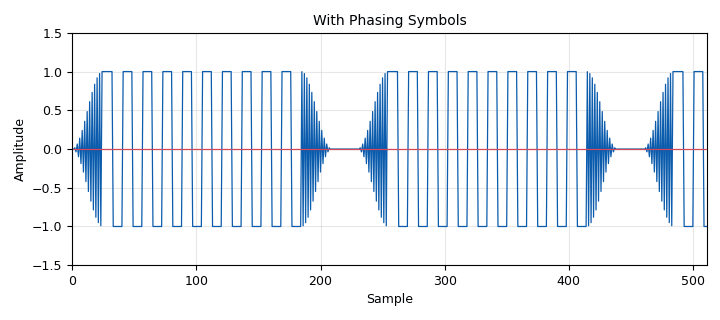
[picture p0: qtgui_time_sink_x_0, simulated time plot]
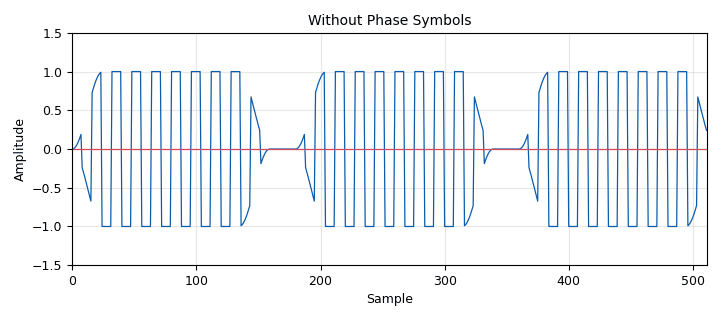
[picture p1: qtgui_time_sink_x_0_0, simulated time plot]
options:
  parameters:
    category: Custom
    description: Adapted from GNU Radio's own example (gr-digital/examples/packet/burst_tagger.grc).
    generate_options: qt_gui
    id: top_block
    output_language: python
    title: Burst Tagger Demo
  states: {}

blocks:
- name: samp_rate
  id: variable
  parameters:
    value: '32000'
  states: {}
- name: blocks_stream_to_tagged_stream_0
  id: blocks_stream_to_tagged_stream
  parameters:
    len_tag_key: '"packet_len"'
    packet_len: 16*10
    type: complex
  states: {}
- name: blocks_throttle2_0
  id: blocks_throttle2
  parameters:
    samples_per_second: samp_rate
    type: complex
  states: {}
- name: blocks_vector_source_x_0
  id: blocks_vector_source_x
  parameters:
    repeat: 'True'
    type: complex
    vector: '[1,1,1,1,1,1,1,1,-1,-1,-1,-1,-1,-1,-1,-1]'
  states: {}
- name: digital_burst_shaper_xx_0
  id: digital_burst_shaper_xx
  parameters:
    insert_phasing: 'True'
    length_tag_name: packet_len
    post_padding: '20'
    pre_padding: '0'
    type: complex
    window: firdes.window(window.WIN_HANN, 50, 0)
  states: {}
- name: digital_burst_shaper_xx_0_0
  id: digital_burst_shaper_xx
  parameters:
    insert_phasing: 'False'
    length_tag_name: packet_len
    post_padding: '20'
    pre_padding: '0'
    type: complex
    window: firdes.window(window.WIN_HANN, 50, 0)
  states: {}
- name: qtgui_time_sink_x_0
  id: qtgui_time_sink_x
  parameters:
    gui_hint: 0,0,1,1
    label1: ''
    label2: ''
    legend: 'False'
    name: With Phasing Symbols
    size: '512'
    tr_mode: qtgui.TRIG_MODE_TAG
    tr_tag: packet_len
    type: complex
    ymax: '1.5'
    ymin: '-1.5'
    samp_rate: '1'
  states: {}
- name: qtgui_time_sink_x_0_0
  id: qtgui_time_sink_x
  parameters:
    gui_hint: 1,0,1,1
    label1: ''
    label2: ''
    legend: 'False'
    name: Without Phase Symbols
    size: '512'
    tr_mode: qtgui.TRIG_MODE_TAG
    tr_tag: packet_len
    type: complex
    ymax: '1.5'
    ymin: '-1.5'
    samp_rate: '1'
  states: {}

connections:
- [blocks_stream_to_tagged_stream_0, '0', digital_burst_shaper_xx_0, '0']
- [blocks_stream_to_tagged_stream_0, '0', digital_burst_shaper_xx_0_0, '0']
- [blocks_throttle2_0, '0', blocks_stream_to_tagged_stream_0, '0']
- [blocks_vector_source_x_0, '0', blocks_throttle2_0, '0']
- [digital_burst_shaper_xx_0, '0', qtgui_time_sink_x_0, '0']
- [digital_burst_shaper_xx_0_0, '0', qtgui_time_sink_x_0_0, '0']

metadata:
  file_format: 1
  grc_version: 3.10.10.0
